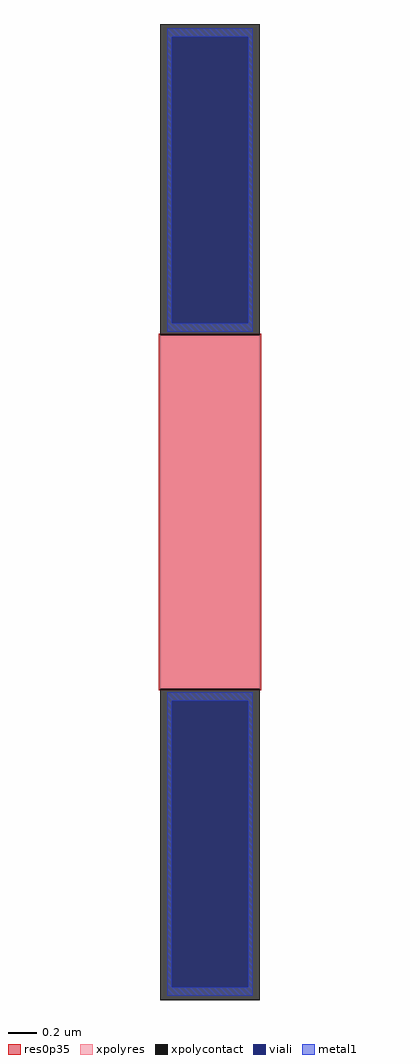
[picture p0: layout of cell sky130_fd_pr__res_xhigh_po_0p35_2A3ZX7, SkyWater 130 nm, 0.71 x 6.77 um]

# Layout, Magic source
magic
tech sky130A
magscale 1 2
<< xpolycontact >>
rect -69 245 69 677
rect -69 -677 69 -245
<< xpolyres >>
rect -69 -245 69 245
<< viali >>
rect -53 262 53 659
rect -53 -659 53 -262
<< metal1 >>
rect -59 659 59 671
rect -59 262 -53 659
rect 53 262 59 659
rect -59 250 59 262
rect -59 -262 59 -250
rect -59 -659 -53 -262
rect 53 -659 59 -262
rect -59 -671 59 -659
<< res0p35 >>
rect -71 -247 71 247
<< properties >>
string gencell sky130_fd_pr__res_xhigh_po_0p35
string parameters w 0.690 l 2.45 m 1 nx 1 wmin 0.690 lmin 0.50 rho 2000 val 7.157k dummy 0 dw 0.0 term 19.188 sterm 0.0 caplen 0 wmax 0.690 guard 0 glc 1 grc 1 gtc 1 gbc 1 compatible {sky130_fd_pr__res_xhigh_po_0p35  sky130_fd_pr__res_xhigh_po_0p69 sky130_fd_pr__res_xhigh_po_1p41  sky130_fd_pr__res_xhigh_po_2p85 sky130_fd_pr__res_xhigh_po_5p73} full_metal 1 n_guard 0 hv_guard 0 vias 1 viagb 0 viagt 0 viagl 0 viagr 0
string library sky130
<< end >>
